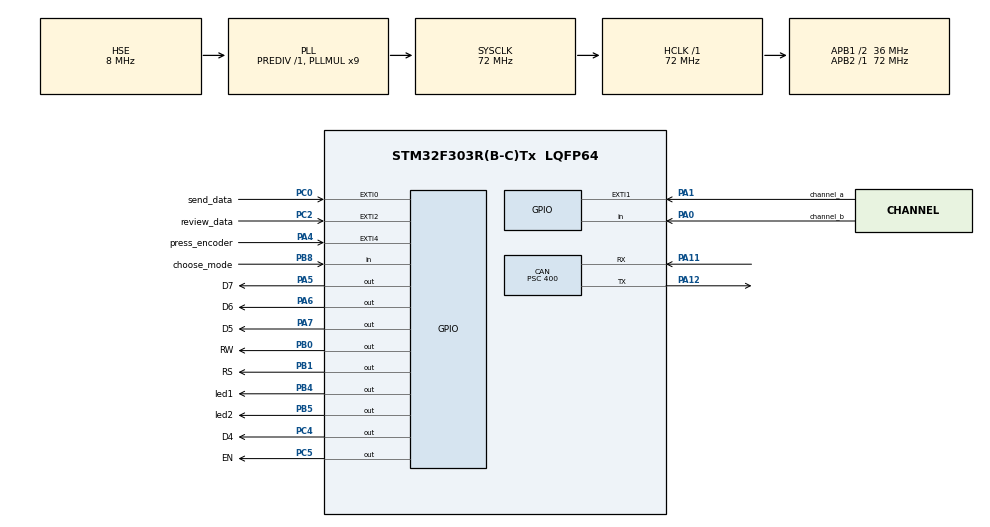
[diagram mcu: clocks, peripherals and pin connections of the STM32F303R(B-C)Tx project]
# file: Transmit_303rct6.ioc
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CAN.BS1=CAN_BS1_12TQ
CAN.BS2=CAN_BS2_5TQ
CAN.CalculateTimeQuantum=11111.111111111111
CAN.Prescaler=400
Mcu.Family=STM32F3
Mcu.Name=STM32F303R(B-C)Tx
Mcu.Package=LQFP64
NVIC.EXTI0_IRQn=true\:0\:0\:false\:false\:true\:true
NVIC.EXTI1_IRQn=true\:0\:0\:false\:false\:true\:true
NVIC.EXTI2_TSC_IRQn=true\:0\:0\:false\:false\:true\:true
NVIC.EXTI4_IRQn=true\:0\:0\:false\:false\:true\:true
NVIC.PriorityGroup=NVIC_PRIORITYGROUP_4
NVIC.TIM2_IRQn=true\:0\:0\:false\:false\:true\:true
PA0.GPIO_Label=channel_b
PA0.Signal=GPIO_Input
PA1.GPIO_Label=channel_a
PA1.GPIO_ModeDefaultEXTI=GPIO_MODE_IT_FALLING
PA1.Signal=GPXTI1
PA11.Mode=Master
PA11.Signal=CAN_RX
PA12.Mode=Master
PA12.Signal=CAN_TX
PA13.Mode=Serial_Wire
PA13.Signal=SYS_JTMS-SWDIO
PA14.Mode=Serial_Wire
PA14.Signal=SYS_JTCK-SWCLK
PA4.GPIO_Label=press_encoder
PA4.GPIO_PuPd=GPIO_PULLDOWN
PA4.Signal=GPXTI4
PA5.GPIO_Label=D7
PA5.Signal=GPIO_Output
PA6.GPIO_Label=D6
PA6.Signal=GPIO_Output
PA7.GPIO_Label=D5
PA7.Signal=GPIO_Output
PB0.GPIO_Label=RW
PB0.Signal=GPIO_Output
PB1.GPIO_Label=RS
PB1.Signal=GPIO_Output
PB4.GPIO_Label=led1
PB4.GPIO_ModeDefaultOutputPP=GPIO_MODE_OUTPUT_PP
PB4.GPIO_PuPd=GPIO_NOPULL
PB4.GPIO_Speed=GPIO_SPEED_FREQ_LOW
PB4.PinState=GPIO_PIN_SET
PB4.Signal=GPIO_Output
PB5.GPIO_Label=led2
PB5.GPIO_ModeDefaultOutputPP=GPIO_MODE_OUTPUT_PP
PB5.GPIO_PuPd=GPIO_NOPULL
PB5.GPIO_Speed=GPIO_SPEED_FREQ_LOW
PB5.PinState=GPIO_PIN_SET
PB5.Signal=GPIO_Output
PB8.GPIO_Label=choose_mode
PB8.Signal=GPIO_Input
PC0.GPIO_Label=send_data
PC0.GPIO_ModeDefaultEXTI=GPIO_MODE_IT_FALLING
PC0.GPIO_PuPd=GPIO_PULLUP
PC0.Signal=GPXTI0
PC2.GPIO_Label=review_data
PC2.GPIO_ModeDefaultEXTI=GPIO_MODE_IT_FALLING
PC2.Signal=GPXTI2
PC4.GPIO_Label=D4
PC4.Signal=GPIO_Output
PC5.GPIO_Label=EN
PC5.Signal=GPIO_Output
PF0-OSC_IN.Mode=HSE-External-Oscillator
PF0-OSC_IN.Signal=RCC_OSC_IN
PF1-OSC_OUT.Mode=HSE-External-Oscillator
PF1-OSC_OUT.Signal=RCC_OSC_OUT
ProjectManager.HeapSize=0x200
ProjectManager.StackSize=0x400
ProjectManager.TargetToolchain=MDK-ARM V5
RCC.AHBFreq_Value=72000000
RCC.APB1CLKDivider=RCC_HCLK_DIV2
RCC.APB1Freq_Value=36000000
RCC.APB1TimFreq_Value=72000000
RCC.APB2Freq_Value=72000000
RCC.APB2TimFreq_Value=72000000
RCC.CortexFreq_Value=72000000
RCC.HCLKFreq_Value=72000000
RCC.HSE_VALUE=8000000
RCC.HSI_VALUE=8000000
RCC.LSE_VALUE=32768
RCC.PLLMUL=RCC_PLL_MUL9
RCC.PLLSourceVirtual=RCC_PLLSOURCE_HSE
RCC.SYSCLKFreq_VALUE=72000000
RCC.SYSCLKSourceVirtual=RCC_SYSCLKSOURCE_PLLCLK
RCC.USBFreq_Value=72000000
TIM2.Period=9
TIM2.Prescaler=7199
VP_TIM2_VS_ClockSourceINT.Mode=Internal
board=Transmit_303rct6

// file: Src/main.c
/**
  ******************************************************************************
    @file           : main.c
    @brief          : Main program body
  ******************************************************************************
  ** This notice applies to any and all portions of this file
    that are not between comment pairs USER CODE BEGIN and
    USER CODE END. Other portions of this file, whether
    inserted by the user or by software development tools
    are owned by their respective copyright owners.

    COPYRIGHT(c) 2019 STMicroelectronics

    Redistribution and use in source and binary forms, with or without modification,
    are permitted provided that the following conditions are met:
      1. Redistributions of source code must retain the above copyright notice,
         this list of conditions and the following disclaimer.
      2. Redistributions in binary form must reproduce the above copyright notice,
         this list of conditions and the following disclaimer in the documentation
         and/or other materials provided with the distribution.
      3. Neither the name of STMicroelectronics nor the names of its contributors
         may be used to endorse or promote products derived from this software
         without specific prior written permission.

    THIS SOFTWARE IS PROVIDED BY THE COPYRIGHT HOLDERS AND CONTRIBUTORS "AS IS"
    AND ANY EXPRESS OR IMPLIED WARRANTIES, INCLUDING, BUT NOT LIMITED TO, THE
    IMPLIED WARRANTIES OF MERCHANTABILITY AND FITNESS FOR A PARTICULAR PURPOSE ARE
    DISCLAIMED. IN NO EVENT SHALL THE COPYRIGHT HOLDER OR CONTRIBUTORS BE LIABLE
    FOR ANY DIRECT, INDIRECT, INCIDENTAL, SPECIAL, EXEMPLARY, OR CONSEQUENTIAL
    DAMAGES (INCLUDING, BUT NOT LIMITED TO, PROCUREMENT OF SUBSTITUTE GOODS OR
    SERVICES; LOSS OF USE, DATA, OR PROFITS; OR BUSINESS INTERRUPTION) HOWEVER
    CAUSED AND ON ANY THEORY OF LIABILITY, WHETHER IN CONTRACT, STRICT LIABILITY,
    OR TORT (INCLUDING NEGLIGENCE OR OTHERWISE) ARISING IN ANY WAY OUT OF THE USE
    OF THIS SOFTWARE, EVEN IF ADVISED OF THE POSSIBILITY OF SUCH DAMAGE.

  ******************************************************************************
*/
#include "main.h"
#include "stm32f3xx_hal.h"

/* USER CODE BEGIN Includes */
#include "lcd.h"
#define pattern_a 1
#define pattern_b 0
/* USER CODE END Includes */

CAN_HandleTypeDef hcan;

TIM_HandleTypeDef htim2;

/* USER CODE BEGIN PV */
/* Private variables ---------------------------------------------------------*/
CanTxMsgTypeDef CanTx;
volatile uint8_t can_tx_int = 0;
volatile uint8_t rotary_value = 0;
volatile uint16_t timer_counter = 0;
volatile uint8_t timer_int = 0;
volatile uint8_t press_counter = 0;
volatile uint8_t review_data_int = 0;

volatile static uint8_t n1_chuc = 0, n1_donvi = 0;
volatile static uint8_t n2_chuc = 0, n2_donvi = 0;
volatile static uint8_t B_nghin = 0, B_tram = 0, B_chuc, B_donvi = 0;
volatile static uint8_t C_nghin = 0, C_tram = 0, C_chuc = 0, C_donvi = 0;
volatile static uint8_t D_nghin = 0, D_tram = 0, D_chuc = 0, D_donvi = 0;

volatile static uint8_t B1_nghin = 0, B1_tram = 0, B1_chuc = 0, B1_donvi = 0;
volatile static uint8_t C1_nghin = 0, C1_tram = 0, C1_chuc = 0, C1_donvi = 0;
volatile static uint8_t B2_nghin = 0, B2_tram = 0, B2_chuc = 0, B2_donvi = 0;

volatile static uint8_t D1_nghin = 0, D1_tram = 0, D1_chuc = 0, D1_donvi = 0;
volatile static uint8_t E_chucnghin = 0, E_nghin = 0, E_tram = 0, E_chuc = 0, E_donvi = 0;

volatile static uint8_t D2_nghin = 0, D2_tram = 0, D2_chuc = 0, D2_donvi = 0;
volatile static uint8_t C2_nghin = 0, C2_tram = 0, C2_chuc = 0, C2_donvi = 0;

uint8_t choose_mode;

uint8_t flag_choose_mode;
uint8_t flag_enable_send_data = 0;
//package 1
uint8_t n1 = 0, n2 = 0;
uint16_t B = 0, C = 0, D = 0;
uint8_t B_H = 0, B_L = 0, C_H = 0, C_L = 0, D_H = 0, D_L = 0;

//package 2
uint16_t B1 = 0, C1 = 0, B2 = 0;
uint8_t B1_H = 0, B1_L = 0, C1_H = 0, C1_L = 0, B2_H = 0, B2_L = 0;

//package 3
uint16_t D1 = 0;
uint32_t E = 0;
uint8_t D1_H = 0, D1_L = 0, E_HH = 0, E_H = 0, E_L = 0;

//package 4
uint16_t D2 = 0, C2 = 0;
uint8_t D2_H = 0, D2_L = 0, C2_H = 0, C2_L = 0;

Lcd_PortType ports[] = {D4_GPIO_Port, D5_GPIO_Port, D6_GPIO_Port, D7_GPIO_Port};
Lcd_PinType pins[] = {D4_Pin, D5_Pin, D6_Pin, D7_Pin};
Lcd_HandleTypeDef lcd;
/* USER CODE END PV */

void SystemClock_Config(void);
static void MX_GPIO_Init(void);
static void MX_CAN_Init(void);
static void MX_TIM2_Init(void);

/* USER CODE BEGIN PFP */
/* Private function prototypes -----------------------------------------------*/
void lcd_form_init(void);
void lcd_form1_pattern_a(void);
void lcd_form1_pattern_b(void);
void lcd_form2_pattern_b(void);
void lcd_form1_viewdata(void);
void lcd_form2_viewdata(void);
void lcd_form3_viewdata(void);
void lcd_form4_viewdata(void);
void lcd_form0_viewdata(void);
/* USER CODE END PFP */

int main(void)
{

  /* MCU Configuration----------------------------------------------------------*/

  /* Reset of all peripherals, Initializes the Flash interface and the Systick. */
  HAL_Init();

  /* Configure the system clock */
  SystemClock_Config();

  /* Initialize all configured peripherals */
  MX_GPIO_Init();
  MX_CAN_Init();
  MX_TIM2_Init();
  /* USER CODE BEGIN 2 */

  HAL_TIM_Base_Start_IT(&htim2);

  hcan.pTxMsg = &CanTx;
  CanTx.RTR = CAN_RTR_DATA;
  CanTx.IDE = CAN_ID_STD;

  lcd = Lcd_create(ports, pins, RS_GPIO_Port, RS_Pin, EN_GPIO_Port, EN_Pin, LCD_4_BIT_MODE);
  Lcd_clear(&lcd);
  lcd_form_init();

  HAL_NVIC_DisableIRQ(send_data_EXTI_IRQn);
  HAL_NVIC_DisableIRQ(review_data_EXTI_IRQn);
  /* USER CODE END 2 */

  /* Infinite loop */
  /* USER CODE BEGIN WHILE */
  while (1)
  {

    if (press_counter == 0)
    {
      if (HAL_GPIO_ReadPin(choose_mode_GPIO_Port, choose_mode_Pin))
      {
        lcd_form1_pattern_a();
        Lcd_cursor(&lcd, 2, 11);
        if (timer_int)
        {
          Lcd_string(&lcd, "a");
        }
        else
        {
          Lcd_string(&lcd, " ");
        }
      }
      else
      {
        lcd_form1_pattern_b();
        Lcd_cursor(&lcd, 2, 11);
        if (timer_int)
        {
          Lcd_string(&lcd, "b");
        }
        else
        {
          Lcd_string(&lcd, " ");
        }
      }
    }
    //----------------------------------------------------------------1 time----------------------------------------------------------------------------------
    if (press_counter == 1)
    {

      Lcd_cursor(&lcd, 2, 11);
      if (flag_choose_mode == 1)
      {
        Lcd_string(&lcd, "a");
      }
      else
      {
        Lcd_string(&lcd, "b");
      }

      Lcd_cursor(&lcd, 2, 16);
      if (timer_int)
      {
        Lcd_int(&lcd, rotary_value);
      }
      else
      {
        Lcd_string(&lcd, "_");
      }
    }
    //----------------------------------------------------------------2 times
    if (press_counter == 2)
    {
      Lcd_cursor(&lcd, 2, 16);
      Lcd_int(&lcd, n1_chuc);
      Lcd_cursor(&lcd, 2, 17);
      if (timer_int)
      {
        Lcd_int(&lcd, rotary_value);
      }
      else
      {
        Lcd_string(&lcd, "_");
      }
    }
    //----------------------------------------------------------------3 times
    if (press_counter == 3)
    {
      Lcd_cursor(&lcd, 2, 17);
      Lcd_int(&lcd, n1_donvi);
      Lcd_cursor(&lcd, 3, 5);
      if (timer_int)
      {
        Lcd_int(&lcd, rotary_value);
      }
      else
      {
        Lcd_string(&lcd, "_");
      }
    }
    //----------------------------------------------------------------4 times
    if (press_counter == 4)
    {
      Lcd_cursor(&lcd, 3, 5);
      Lcd_int(&lcd, n2_chuc);
      Lcd_cursor(&lcd, 3, 6);
      if (timer_int)
      {
        Lcd_int(&lcd, rotary_value);
      }
      else
      {
        Lcd_string(&lcd, "_");
      }
    }
    //----------------------------------------------------------------5 times
    if (press_counter == 5)
    {
      Lcd_cursor(&lcd, 3, 6);
      Lcd_int(&lcd, n2_donvi);
      Lcd_cursor(&lcd, 3, 16);
      if (timer_int)
      {
        Lcd_int(&lcd, rotary_value);
      }
      else
      {
        Lcd_string(&lcd, "_");
      }
    }
    //----------------------------------------------------------------------------------------------------------pattern a
    //----------------------------------------------------------------6 times
    if (flag_choose_mode == 1 && press_counter >= 6)
    {
      if (press_counter == 6)
      {
        Lcd_cursor(&lcd, 3, 16);
        Lcd_int(&lcd, B_nghin);
        Lcd_cursor(&lcd, 3, 17);
        if (timer_int)
        {
          Lcd_int(&lcd, rotary_value);
        }
        else
        {
          Lcd_string(&lcd, "_");
        }
      }
      //----------------------------------------------------------------7 times
      if (press_counter == 7)
      {
        Lcd_cursor(&lcd, 3, 17);
        Lcd_int(&lcd, B_tram);
        Lcd_cursor(&lcd, 3, 18);
        if (timer_int)
        {
          Lcd_int(&lcd, rotary_value);
        }
        else
        {
          Lcd_string(&lcd, "_");
        }
      }
      //----------------------------------------------------------------8 times
      if (press_counter == 8)
      {
        Lcd_cursor(&lcd, 3, 18);
        Lcd_int(&lcd, B_chuc);
        Lcd_cursor(&lcd, 3, 19);
        if (timer_int)
        {
          Lcd_int(&lcd, rotary_value);
        }
        else
        {
          Lcd_string(&lcd, "_");
        }
      }
      //----------------------------------------------------------------9 times
      if (press_counter == 9)
      {
        Lcd_cursor(&lcd, 3, 19);
        Lcd_int(&lcd, B_donvi);
        Lcd_cursor(&lcd, 4, 5);
        if (timer_int)
        {
          Lcd_int(&lcd, rotary_value);
        }
        else
        {
          Lcd_string(&lcd, "_");
        }
      }
      //----------------------------------------------------------------10 times
      if (press_counter == 10)
      {
        Lcd_cursor(&lcd, 4, 5);
        Lcd_int(&lcd, C_nghin);
        Lcd_cursor(&lcd, 4, 6);
        if (timer_int)
        {
          Lcd_int(&lcd, rotary_value);
        }
        else
        {
          Lcd_string(&lcd, "_");
        }
      }
      //----------------------------------------------------------------11 times
      if (press_counter == 11)
      {
        Lcd_cursor(&lcd, 4, 6);
        Lcd_int(&lcd, C_tram);
        Lcd_cursor(&lcd, 4, 7);
        if (timer_int)
        {
          Lcd_int(&lcd, rotary_value);
        }
        else
        {
          Lcd_string(&lcd, "_");
        }
      }
      //----------------------------------------------------------------12 times
      if (press_counter == 12)
      {
        Lcd_cursor(&lcd, 4, 7);
        Lcd_int(&lcd, C_chuc);
        Lcd_cursor(&lcd, 4, 8);
        if (timer_int)
        {
          Lcd_int(&lcd, rotary_value);
        }
        else
        {
          Lcd_string(&lcd, "_");
        }
      }
      //----------------------------------------------------------------13 times
      if (press_counter == 13)
      {
        Lcd_cursor(&lcd, 4, 8);
        Lcd_int(&lcd, C_donvi);
        Lcd_cursor(&lcd, 4, 16);
        if (timer_int)
        {
          Lcd_int(&lcd, rotary_value);
        }
        else
        {
          Lcd_string(&lcd, "_");
        }
      }
      //----------------------------------------------------------------14 times
      if (press_counter == 14)
      {
        Lcd_cursor(&lcd, 4, 16);
        Lcd_int(&lcd, D_nghin);
        Lcd_cursor(&lcd, 4, 17);
        if (timer_int)
        {
          Lcd_int(&lcd, rotary_value);
        }
        else
        {
          Lcd_string(&lcd, "_");
        }
      }
      //----------------------------------------------------------------15 times
      if (press_counter == 15)
      {
        Lcd_cursor(&lcd, 4, 17);
        Lcd_int(&lcd, D_tram);
        Lcd_cursor(&lcd, 4, 18);
        if (timer_int)
        {
          Lcd_int(&lcd, rotary_value);
        }
        else
        {
          Lcd_string(&lcd, "_");
        }
      }
      //----------------------------------------------------------------16 times
      if (press_counter == 16)
      {
        Lcd_cursor(&lcd, 4, 18);
        Lcd_int(&lcd, D_chuc);
        Lcd_cursor(&lcd, 4, 19);
        if (timer_int)
        {
          Lcd_int(&lcd, rotary_value);
        }
        else
        {
          Lcd_string(&lcd, "_");
        }
      }
      //----------------------------------------------------------------17 times
      if (press_counter == 17)
      {
        Lcd_cursor(&lcd, 4, 19);
        Lcd_int(&lcd, D_donvi);
				press_counter = 37;
      }
    }
    //----------------------------------------------------------------------------------------------------------pattern b
    //----------------------------------------------------------------6 times
    if (flag_choose_mode == 0 && press_counter >= 6)
    {
      if (press_counter == 6)
      {
        Lcd_cursor(&lcd, 3, 16);
        Lcd_int(&lcd, B1_nghin);
        Lcd_cursor(&lcd, 3, 17);
        if (timer_int)
        {
          Lcd_int(&lcd, rotary_value);
        }
        else
        {
          Lcd_string(&lcd, "_");
        }
      }
      //----------------------------------------------------------------7 times
      if (press_counter == 7)
      {
        Lcd_cursor(&lcd, 3, 17);
        Lcd_int(&lcd, B1_tram);
        Lcd_cursor(&lcd, 3, 18);
        if (timer_int)
        {
          Lcd_int(&lcd, rotary_value);
        }
        else
        {
          Lcd_string(&lcd, "_");
        }
      }
      //----------------------------------------------------------------8 times
      if (press_counter == 8)
      {
        Lcd_cursor(&lcd, 3, 18);
        Lcd_int(&lcd, B1_chuc);
        Lcd_cursor(&lcd, 3, 19);
        if (timer_int)
        {
          Lcd_int(&lcd, rotary_value);
        }
        else
        {
          Lcd_string(&lcd, "_");
        }
      }
      //----------------------------------------------------------------9 times
      if (press_counter == 9)
      {
        Lcd_cursor(&lcd, 3, 19);
        Lcd_int(&lcd, B1_donvi);
        Lcd_cursor(&lcd, 4, 5);
        if (timer_int)
        {
          Lcd_int(&lcd, rotary_value);
        }
        else
        {
          Lcd_string(&lcd, "_");
        }
      }
      //----------------------------------------------------------------10 times
      if (press_counter == 10)
      {
        Lcd_cursor(&lcd, 4, 5);
        Lcd_int(&lcd, C1_nghin);
        Lcd_cursor(&lcd, 4, 6);
        if (timer_int)
        {
          Lcd_int(&lcd, rotary_value);
        }
        else
        {
          Lcd_string(&lcd, "_");
        }
      }
      //----------------------------------------------------------------11 times
      if (press_counter == 11)
      {
        Lcd_cursor(&lcd, 4, 6);
        Lcd_int(&lcd, C1_tram);
        Lcd_cursor(&lcd, 4, 7);
        if (timer_int)
        {
          Lcd_int(&lcd, rotary_value);
        }
        else
        {
          Lcd_string(&lcd, "_");
        }
      }
      //----------------------------------------------------------------12 times
      if (press_counter == 12)
      {
        Lcd_cursor(&lcd, 4, 7);
        Lcd_int(&lcd, C1_chuc);
        Lcd_cursor(&lcd, 4, 8);
        if (timer_int)
        {
          Lcd_int(&lcd, rotary_value);
        }
        else
        {
          Lcd_string(&lcd, "_");
        }
      }
      //----------------------------------------------------------------13 times
      if (press_counter == 13)
      {
        Lcd_cursor(&lcd, 4, 8);
        Lcd_int(&lcd, C1_donvi);
        Lcd_cursor(&lcd, 4, 16);
        if (timer_int)
        {
          Lcd_int(&lcd, rotary_value);
        }
        else
        {
          Lcd_string(&lcd, "_");
        }
      }
      //----------------------------------------------------------------14 times
      if (press_counter == 14)
      {
        Lcd_cursor(&lcd, 4, 16);
        Lcd_int(&lcd, B2_nghin);
        Lcd_cursor(&lcd, 4, 17);
        if (timer_int)
        {
          Lcd_int(&lcd, rotary_value);
        }
        else
        {
          Lcd_string(&lcd, "_");
        }
      }
      //----------------------------------------------------------------15 times
      if (press_counter == 15)
      {
        Lcd_cursor(&lcd, 4, 17);
        Lcd_int(&lcd, B2_tram);
        Lcd_cursor(&lcd, 4, 18);
        if (timer_int)
        {
          Lcd_int(&lcd, rotary_value);
        }
        else
        {
          Lcd_string(&lcd, "_");
        }
      }
      //----------------------------------------------------------------16 times
      if (press_counter == 16)
      {
        Lcd_cursor(&lcd, 4, 18);
        Lcd_int(&lcd, B2_chuc);
        Lcd_cursor(&lcd, 4, 19);
        if (timer_int)
        {
          Lcd_int(&lcd, rotary_value);
        }
        else
        {
          Lcd_string(&lcd, "_");
        }
      }
      //----------------------------------------------------------------17 times
      if (press_counter == 17)
      {
        Lcd_cursor(&lcd, 4, 19);
        Lcd_int(&lcd, B2_donvi);
      }
      //----------------------------------------------------------------18 times
      if (press_counter == 18)
      {
        lcd_form2_pattern_b();
      }
      //----------------------------------------------------------------19 times
      if (press_counter == 19)
      {
        Lcd_cursor(&lcd, 3, 5);
        if (timer_int)
        {
          Lcd_int(&lcd, rotary_value);
        }
        else
        {
          Lcd_string(&lcd, "_");
        }
      }
      //----------------------------------------------------------------20 times
      if (press_counter == 20)
      {
        Lcd_cursor(&lcd, 3, 5);
        Lcd_int(&lcd, D1_nghin);
        Lcd_cursor(&lcd, 3, 6);
        if (timer_int)
        {
          Lcd_int(&lcd, rotary_value);
        }
        else
        {
          Lcd_string(&lcd, "_");
        }
      }
      //----------------------------------------------------------------21 times
      if (press_counter == 21)
      {
        Lcd_cursor(&lcd, 3, 6);
        Lcd_int(&lcd, D1_tram);
        Lcd_cursor(&lcd, 3, 7);
        if (timer_int)
        {
          Lcd_int(&lcd, rotary_value);
        }
        else
        {
          Lcd_string(&lcd, "_");
        }
      }
      //----------------------------------------------------------------22 times
      if (press_counter == 22)
      {
        Lcd_cursor(&lcd, 3, 7);
        Lcd_int(&lcd, D1_chuc);
        Lcd_cursor(&lcd, 3, 8);
        if (timer_int)
        {
          Lcd_int(&lcd, rotary_value);
        }
        else
        {
          Lcd_string(&lcd, "_");
        }
      }
      //----------------------------------------------------------------23 times
      if (press_counter == 23)
      {
        Lcd_cursor(&lcd, 3, 8);
        Lcd_int(&lcd, D1_donvi);
        Lcd_cursor(&lcd, 3, 16);
        if (timer_int)
        {
          Lcd_int(&lcd, rotary_value);
        }
        else
        {
          Lcd_string(&lcd, "_");
        }
      }
      //----------------------------------------------------------------24 times
      if (press_counter == 24)
      {
        Lcd_cursor(&lcd, 3, 16);
        Lcd_int(&lcd, E_chucnghin);
        Lcd_cursor(&lcd, 3, 17);
        if (timer_int)
        {
          Lcd_int(&lcd, rotary_value);
        }
        else
        {
          Lcd_string(&lcd, "_");
        }
      }
      //----------------------------------------------------------------25 times
      if (press_counter == 25)
      {
        Lcd_cursor(&lcd, 3, 17);
        Lcd_int(&lcd, E_nghin);
        Lcd_cursor(&lcd, 3, 18);
        if (timer_int)
        {
          Lcd_int(&lcd, rotary_value);
        }
        else
        {
          Lcd_string(&lcd, "_");
        }
      }
      //----------------------------------------------------------------26 times
      if (press_counter == 26)
      {
        Lcd_cursor(&lcd, 3, 18);
        Lcd_int(&lcd, E_tram);
        Lcd_cursor(&lcd, 3, 19);
        if (timer_int)
        {
          Lcd_int(&lcd, rotary_value);
        }
        else
        {
          Lcd_string(&lcd, "_");
        }
      }
      //----------------------------------------------------------------27 times
      if (press_counter == 27)
      {
        Lcd_cursor(&lcd, 3, 19);
        Lcd_int(&lcd, E_chuc);
        Lcd_cursor(&lcd, 3, 20);
        if (timer_int)
        {
          Lcd_int(&lcd, rotary_value);
        }
        else
        {
          Lcd_string(&lcd, "_");
        }
      }
      //----------------------------------------------------------------28 times
      if (press_counter == 28)
      {
        Lcd_cursor(&lcd, 3, 20);
        Lcd_int(&lcd, E_donvi);
        Lcd_cursor(&lcd, 4, 5);
        if (timer_int)
        {
          Lcd_int(&lcd, rotary_value);
        }
        else
        {
          Lcd_string(&lcd, "_");
        }
      }
      //----------------------------------------------------------------29 times
      if (press_counter == 29)
      {
        Lcd_cursor(&lcd, 4, 5);
        Lcd_int(&lcd, D2_nghin);
        Lcd_cursor(&lcd, 4, 6);
        if (timer_int)
        {
          Lcd_int(&lcd, rotary_value);
        }
        else
        {
          Lcd_string(&lcd, "_");
        }
      }
      //----------------------------------------------------------------30 times
      if (press_counter == 30)
      {
        Lcd_cursor(&lcd, 4, 6);
        Lcd_int(&lcd, D2_tram);
        Lcd_cursor(&lcd, 4, 7);
        if (timer_int)
        {
          Lcd_int(&lcd, rotary_value);
        }
        else
        {
          Lcd_string(&lcd, "_");
        }
      }
      //----------------------------------------------------------------31 times
      if (press_counter == 31)
      {
        Lcd_cursor(&lcd, 4, 7);
        Lcd_int(&lcd, D2_chuc);
        Lcd_cursor(&lcd, 4, 8);
        if (timer_int)
        {
          Lcd_int(&lcd, rotary_value);
        }
        else
        {
          Lcd_string(&lcd, "_");
        }
      }
      //----------------------------------------------------------------32 times
      if (press_counter == 32)
      {
        Lcd_cursor(&lcd, 4, 8);
        Lcd_int(&lcd, D2_donvi);
        Lcd_cursor(&lcd, 4, 16);
        if (timer_int)
        {
          Lcd_int(&lcd, rotary_value);
        }
        else
        {
          Lcd_string(&lcd, "_");
        }
      }
      //----------------------------------------------------------------33 times
      if (press_counter == 33)
      {
        Lcd_cursor(&lcd, 4, 16);
        Lcd_int(&lcd, C2_nghin);
        Lcd_cursor(&lcd, 4, 17);
        if (timer_int)
        {
          Lcd_int(&lcd, rotary_value);
        }
        else
        {
          Lcd_string(&lcd, "_");
        }
      }
      //----------------------------------------------------------------34 times
      if (press_counter == 34)
      {
        Lcd_cursor(&lcd, 4, 17);
        Lcd_int(&lcd, C2_tram);
        Lcd_cursor(&lcd, 4, 18);
        if (timer_int)
        {
          Lcd_int(&lcd, rotary_value);
        }
        else
        {
          Lcd_string(&lcd, "_");
        }
      }
      //----------------------------------------------------------------35 times
      if (press_counter == 35)
      {
        Lcd_cursor(&lcd, 4, 18);
        Lcd_int(&lcd, C2_chuc);
        Lcd_cursor(&lcd, 4, 19);
        if (timer_int)
        {
          Lcd_int(&lcd, rotary_value);
        }
        else
        {
          Lcd_string(&lcd, "_");
        }
      }
      //----------------------------------------------------------------36 times
      if (press_counter == 36)
      {
        Lcd_cursor(&lcd, 4, 19);
        Lcd_int(&lcd, C2_donvi);
				press_counter++;
      }
    }
    //----------------------------------------------------------------37 times
    if (press_counter == 37)
    {
      //package 1
      n1 = 10 * n1_chuc + n1_donvi;
      n2 = 10 * n2_chuc + n2_donvi;
      B  = 1000 * B_nghin + 100 * B_tram + 10 * B_chuc + B_donvi;
      C  = 1000 * C_nghin + 100 * C_tram + 10 * C_chuc + C_donvi;
      D  = 1000 * D_nghin + 100 * D_tram + 10 * D_chuc + D_donvi;

      B_H = B >> 8;
      B_L = B;

      C_H = C >> 8;
      C_L = C;

      D_H = D >> 8;
      D_L = D;

      //package 2

      B1 = 1000 * B1_nghin + 100 * B1_tram + 10 * B1_chuc + B1_donvi;
      C1 = 1000 * C1_nghin + 100 * C1_tram + 10 * C1_chuc + C1_donvi;
      B2 = 1000 * B2_nghin + 100 * B2_tram + 10 * B2_chuc + B2_donvi;

      B1_H = B1 >> 8;
      B1_L = B1;

      C1_H = C1 >> 8;
      C1_L = C1;

      B2_H = B2 >> 8;
      B2_L = B2;

      //package 3

      D1 = 1000 * D1_nghin + 100 * D1_tram + 10 * D1_chuc + D1_donvi;
      E  = 10000 * E_chucnghin + 1000 * E_nghin + 100 * E_tram + 10 * E_chuc + E_donvi;

      D1_H = D1 >> 8;
      D1_L = D1;

      E_HH = E >> 16;
      E_H = E >> 8;
      E_L = E;

      //package 4

      D2 = 1000 * D2_nghin + 100 * D2_tram + 10 * D2_chuc + D2_donvi;
      C2 = 1000 * C2_nghin + 100 * C2_tram + 10 * C2_chuc + C2_donvi;

      D2_H = D2 >> 8;
      D2_L = D2;

      C2_H = C2 >> 8;
      C2_L = C2;

			__HAL_GPIO_EXTI_CLEAR_IT(send_data_Pin);
      HAL_NVIC_EnableIRQ(send_data_EXTI_IRQn);
			flag_enable_send_data = 1;
    }
    //----------------------------------------------------------------38 times
    if (can_tx_int == 1 && flag_enable_send_data >= 1)
    {
      flag_enable_send_data = 2;

      choose_mode = flag_choose_mode;
      can_tx_int = 0;
      if (choose_mode == pattern_a || (choose_mode == pattern_b && D1 + E < B1 && D2 + C2 < B2))
      {
        //send package 1:8bytes
        CanTx.StdId = 0x101;
        CanTx.DLC = 8;

        CanTx.Data[0] = n1;
        CanTx.Data[1] = n2;
        CanTx.Data[2] = B_H;
        CanTx.Data[3] = B_L;
        CanTx.Data[4] = C_H;
        CanTx.Data[5] = C_L;
        CanTx.Data[6] = D_H;
        CanTx.Data[7] = D_L;
        HAL_CAN_Transmit(&hcan, 10);
        HAL_Delay(10);

        //send package 2:6bytes
        CanTx.StdId = 0x102;
        CanTx.DLC = 6;

        CanTx.Data[0] = B1_H;
        CanTx.Data[1] = B1_L;
        CanTx.Data[2] = C1_H;
        CanTx.Data[3] = C1_L;
        CanTx.Data[4] = B2_H;
        CanTx.Data[5] = B2_L;
        HAL_CAN_Transmit(&hcan, 10);
        HAL_Delay(10);

        //send package 3:5bytes
        CanTx.StdId = 0x103;
        CanTx.DLC = 5;

        CanTx.Data[0] = D1_H;
        CanTx.Data[1] = D1_L;
        CanTx.Data[2] = E_HH;
        CanTx.Data[3] = E_H;
        CanTx.Data[4] = E_L;
        HAL_CAN_Transmit(&hcan, 10);
        HAL_Delay(10);

        //send package 5:5bytes
        CanTx.StdId = 0x104;
        CanTx.DLC = 5;

        CanTx.Data[0] = D2_H;
        CanTx.Data[1] = D2_L;
        CanTx.Data[2] = C2_H;
        CanTx.Data[3] = C2_L;
        CanTx.Data[4] = choose_mode;
        HAL_CAN_Transmit(&hcan, 10);
      }
    }
    //if (flag_enable_send_data == 1)
		if(flag_enable_send_data == 2)
    {
			Lcd_clear(&lcd);
			Lcd_cursor(&lcd, 1, 1);
			Lcd_string(&lcd, "---CONTROLLER BOX---");
			Lcd_cursor(&lcd,2,2);
			if(choose_mode == 1)
			{
				Lcd_string(&lcd,"Pattern: a");
			}
			else
				Lcd_string(&lcd,"Pattern: b");

			flag_enable_send_data++;

		}
		if (flag_enable_send_data == 3)
		{
      __HAL_GPIO_EXTI_CLEAR_IT(review_data_Pin);
      HAL_NVIC_EnableIRQ(review_data_EXTI_IRQn);
      if (choose_mode == pattern_a || (choose_mode == pattern_b && D1 + E < B1 && D2 + C2 < B2))
      {
        Lcd_cursor(&lcd, 3, 7);
        if (timer_int)
        {
          Lcd_string(&lcd, "Sent Data");
        }
        else
        {
          Lcd_string(&lcd, "         ");
        }
      }
      else
      {
        Lcd_cursor(&lcd, 3, 1);
        if (timer_int)
        {
          Lcd_string(&lcd, "   Wrong Condition  ");
        }
        else
        {
          Lcd_string(&lcd, "                    ");
        }
      }
    }
    if (review_data_int == 1)
    {

      review_data_int = 0;
      switch (flag_enable_send_data % 2)
      {
				case 0: lcd_form1_viewdata(); break;
        case 1: lcd_form0_viewdata(); break;
      }

    }

    /* USER CODE END WHILE */

  }

}

void SystemClock_Config(void)
{

  RCC_OscInitTypeDef RCC_OscInitStruct;
  RCC_ClkInitTypeDef RCC_ClkInitStruct;

  /**Initializes the CPU, AHB and APB busses clocks
  */
  RCC_OscInitStruct.OscillatorType = RCC_OSCILLATORTYPE_HSE;
  RCC_OscInitStruct.HSEState = RCC_HSE_ON;
  RCC_OscInitStruct.HSEPredivValue = RCC_HSE_PREDIV_DIV1;
  RCC_OscInitStruct.HSIState = RCC_HSI_ON;
  RCC_OscInitStruct.PLL.PLLState = RCC_PLL_ON;
  RCC_OscInitStruct.PLL.PLLSource = RCC_PLLSOURCE_HSE;
  RCC_OscInitStruct.PLL.PLLMUL = RCC_PLL_MUL9;
  if (HAL_RCC_OscConfig(&RCC_OscInitStruct) != HAL_OK)
  {
    _Error_Handler(__FILE__, __LINE__);
  }

  /**Initializes the CPU, AHB and APB busses clocks
  */
  RCC_ClkInitStruct.ClockType = RCC_CLOCKTYPE_HCLK | RCC_CLOCKTYPE_SYSCLK
                                | RCC_CLOCKTYPE_PCLK1 | RCC_CLOCKTYPE_PCLK2;
  RCC_ClkInitStruct.SYSCLKSource = RCC_SYSCLKSOURCE_PLLCLK;
  RCC_ClkInitStruct.AHBCLKDivider = RCC_SYSCLK_DIV1;
  RCC_ClkInitStruct.APB1CLKDivider = RCC_HCLK_DIV2;
  RCC_ClkInitStruct.APB2CLKDivider = RCC_HCLK_DIV1;

  if (HAL_RCC_ClockConfig(&RCC_ClkInitStruct, FLASH_LATENCY_2) != HAL_OK)
  {
    _Error_Handler(__FILE__, __LINE__);
  }

  /**Configure the Systick interrupt time
  */
  HAL_SYSTICK_Config(HAL_RCC_GetHCLKFreq() / 1000);

  /**Configure the Systick
  */
  HAL_SYSTICK_CLKSourceConfig(SYSTICK_CLKSOURCE_HCLK);

  /* SysTick_IRQn interrupt configuration */
  HAL_NVIC_SetPriority(SysTick_IRQn, 0, 0);
}

/* CAN init function */
static void MX_CAN_Init(void)
{

  hcan.Instance = CAN;
  hcan.Init.Prescaler = 400;
  hcan.Init.Mode = CAN_MODE_NORMAL;
  hcan.Init.SJW = CAN_SJW_1TQ;
  hcan.Init.BS1 = CAN_BS1_12TQ;
  hcan.Init.BS2 = CAN_BS2_5TQ;
  hcan.Init.TTCM = DISABLE;
  hcan.Init.ABOM = DISABLE;
  hcan.Init.AWUM = DISABLE;
  hcan.Init.NART = DISABLE;
  hcan.Init.RFLM = DISABLE;
  hcan.Init.TXFP = DISABLE;
  if (HAL_CAN_Init(&hcan) != HAL_OK)
  {
    _Error_Handler(__FILE__, __LINE__);
  }

}

/* TIM2 init function */
static void MX_TIM2_Init(void)
{

  TIM_ClockConfigTypeDef sClockSourceConfig;
  TIM_MasterConfigTypeDef sMasterConfig;

  htim2.Instance = TIM2;
  htim2.Init.Prescaler = 7199;
  htim2.Init.CounterMode = TIM_COUNTERMODE_UP;
  htim2.Init.Period = 9;
  htim2.Init.ClockDivision = TIM_CLOCKDIVISION_DIV1;
  htim2.Init.AutoReloadPreload = TIM_AUTORELOAD_PRELOAD_DISABLE;
  if (HAL_TIM_Base_Init(&htim2) != HAL_OK)
  {
    _Error_Handler(__FILE__, __LINE__);
  }

  sClockSourceConfig.ClockSource = TIM_CLOCKSOURCE_INTERNAL;
  if (HAL_TIM_ConfigClockSource(&htim2, &sClockSourceConfig) != HAL_OK)
  {
    _Error_Handler(__FILE__, __LINE__);
  }

  sMasterConfig.MasterOutputTrigger = TIM_TRGO_RESET;
  sMasterConfig.MasterSlaveMode = TIM_MASTERSLAVEMODE_DISABLE;
  if (HAL_TIMEx_MasterConfigSynchronization(&htim2, &sMasterConfig) != HAL_OK)
  {
    _Error_Handler(__FILE__, __LINE__);
  }

}

/** Configure pins as
          Analog
          Input
          Output
          EVENT_OUT
          EXTI
*/
static void MX_GPIO_Init(void)
{

  GPIO_InitTypeDef GPIO_InitStruct;

  /* GPIO Ports Clock Enable */
  __HAL_RCC_GPIOF_CLK_ENABLE();
  __HAL_RCC_GPIOC_CLK_ENABLE();
  __HAL_RCC_GPIOA_CLK_ENABLE();
  __HAL_RCC_GPIOB_CLK_ENABLE();

  /*Configure GPIO pin Output Level */
  HAL_GPIO_WritePin(GPIOA, D7_Pin | D6_Pin | D5_Pin, GPIO_PIN_RESET);

  /*Configure GPIO pin Output Level */
  HAL_GPIO_WritePin(GPIOC, D4_Pin | EN_Pin, GPIO_PIN_RESET);

  /*Configure GPIO pin Output Level */
  HAL_GPIO_WritePin(GPIOB, RW_Pin | RS_Pin, GPIO_PIN_RESET);

  /*Configure GPIO pin Output Level */
  HAL_GPIO_WritePin(GPIOB, led1_Pin | led2_Pin, GPIO_PIN_SET);

  /*Configure GPIO pin : send_data_Pin */
  GPIO_InitStruct.Pin = send_data_Pin;
  GPIO_InitStruct.Mode = GPIO_MODE_IT_FALLING;
  GPIO_InitStruct.Pull = GPIO_PULLUP;
  HAL_GPIO_Init(send_data_GPIO_Port, &GPIO_InitStruct);

  /*Configure GPIO pin : review_data_Pin */
  GPIO_InitStruct.Pin = review_data_Pin;
  GPIO_InitStruct.Mode = GPIO_MODE_IT_FALLING;
  GPIO_InitStruct.Pull = GPIO_NOPULL;
  HAL_GPIO_Init(review_data_GPIO_Port, &GPIO_InitStruct);

  /*Configure GPIO pin : channel_b_Pin */
  GPIO_InitStruct.Pin = channel_b_Pin;
  GPIO_InitStruct.Mode = GPIO_MODE_INPUT;
  GPIO_InitStruct.Pull = GPIO_NOPULL;
  HAL_GPIO_Init(channel_b_GPIO_Port, &GPIO_InitStruct);

  /*Configure GPIO pin : channel_a_Pin */
  GPIO_InitStruct.Pin = channel_a_Pin;
  GPIO_InitStruct.Mode = GPIO_MODE_IT_FALLING;
  GPIO_InitStruct.Pull = GPIO_NOPULL;
  HAL_GPIO_Init(channel_a_GPIO_Port, &GPIO_InitStruct);

  /*Configure GPIO pin : press_encoder_Pin */
  GPIO_InitStruct.Pin = press_encoder_Pin;
  GPIO_InitStruct.Mode = GPIO_MODE_IT_RISING;
  GPIO_InitStruct.Pull = GPIO_PULLDOWN;
  HAL_GPIO_Init(press_encoder_GPIO_Port, &GPIO_InitStruct);

  /*Configure GPIO pins : D7_Pin D6_Pin D5_Pin */
  GPIO_InitStruct.Pin = D7_Pin | D6_Pin | D5_Pin;
  GPIO_InitStruct.Mode = GPIO_MODE_OUTPUT_PP;
  GPIO_InitStruct.Pull = GPIO_NOPULL;
  GPIO_InitStruct.Speed = GPIO_SPEED_FREQ_LOW;
  HAL_GPIO_Init(GPIOA, &GPIO_InitStruct);

  /*Configure GPIO pins : D4_Pin EN_Pin */
  GPIO_InitStruct.Pin = D4_Pin | EN_Pin;
  GPIO_InitStruct.Mode = GPIO_MODE_OUTPUT_PP;
  GPIO_InitStruct.Pull = GPIO_NOPULL;
  GPIO_InitStruct.Speed = GPIO_SPEED_FREQ_LOW;
  HAL_GPIO_Init(GPIOC, &GPIO_InitStruct);

  /*Configure GPIO pins : RW_Pin RS_Pin led1_Pin led2_Pin */
  GPIO_InitStruct.Pin = RW_Pin | RS_Pin | led1_Pin | led2_Pin;
  GPIO_InitStruct.Mode = GPIO_MODE_OUTPUT_PP;
  GPIO_InitStruct.Pull = GPIO_NOPULL;
  GPIO_InitStruct.Speed = GPIO_SPEED_FREQ_LOW;
  HAL_GPIO_Init(GPIOB, &GPIO_InitStruct);

  /*Configure GPIO pin : choose_mode_Pin */
  GPIO_InitStruct.Pin = choose_mode_Pin;
  GPIO_InitStruct.Mode = GPIO_MODE_INPUT;
  GPIO_InitStruct.Pull = GPIO_NOPULL;
  HAL_GPIO_Init(choose_mode_GPIO_Port, &GPIO_InitStruct);

  /* EXTI interrupt init*/
  HAL_NVIC_SetPriority(EXTI0_IRQn, 0, 0);
  HAL_NVIC_EnableIRQ(EXTI0_IRQn);

  HAL_NVIC_SetPriority(EXTI1_IRQn, 0, 0);
  HAL_NVIC_EnableIRQ(EXTI1_IRQn);

  HAL_NVIC_SetPriority(EXTI2_TSC_IRQn, 0, 0);
  HAL_NVIC_EnableIRQ(EXTI2_TSC_IRQn);

  HAL_NVIC_SetPriority(EXTI4_IRQn, 0, 0);
  HAL_NVIC_EnableIRQ(EXTI4_IRQn);

}

/* USER CODE BEGIN 4 */
//-----------------------------------------------------------------------------------------------External interrupt
void HAL_GPIO_EXTI_Callback(uint16_t GPIO_Pin)
{
  if (GPIO_Pin == send_data_Pin)
  {
    can_tx_int = 1;
  }
  if (GPIO_Pin == channel_a_Pin)
  {
    if (HAL_GPIO_ReadPin(channel_b_GPIO_Port, channel_b_Pin) == 1)
      rotary_value++;
    else
      rotary_value--;
    if (rotary_value == 255)
      rotary_value = 9;
    if (rotary_value == 10)
      rotary_value = 0;
  }
  if (GPIO_Pin == press_encoder_Pin)
  {
    press_counter++;
    switch (press_counter)
    {
      case 1:
        {
          if (HAL_GPIO_ReadPin(choose_mode_GPIO_Port, choose_mode_Pin) == GPIO_PIN_SET)
            flag_choose_mode = 1;
          else
            flag_choose_mode = 0;
          break;
        }
      case 2: n1_chuc = rotary_value; break;
      case 3: n1_donvi = rotary_value; break;
      case 4: n2_chuc = rotary_value; break;
      case 5: n2_donvi = rotary_value; break;
    }
    if (flag_choose_mode == 1)
    {
      switch (press_counter)
      {
        case 6: B_nghin = rotary_value; break;
        case 7: B_tram = rotary_value; break;
        case 8: B_chuc = rotary_value; break;
        case 9: B_donvi = rotary_value; break;
        case 10: C_nghin = rotary_value; break;
        case 11: C_tram = rotary_value; break;
        case 12: C_chuc = rotary_value; break;
        case 13: C_donvi = rotary_value; break;
        case 14: D_nghin = rotary_value; break;
        case 15: D_tram = rotary_value; break;
        case 16: D_chuc = rotary_value; break;
        case 17: D_donvi = rotary_value; break;
				case 37: HAL_NVIC_DisableIRQ(press_encoder_EXTI_IRQn); break;
      }
    }
    else
    {
      switch (press_counter)
      {
        case 6: B1_nghin = rotary_value; break;
        case 7: B1_tram = rotary_value; break;
        case 8: B1_chuc = rotary_value; break;
        case 9: B1_donvi = rotary_value; break;
        case 10: C1_nghin = rotary_value; break;
        case 11: C1_tram = rotary_value; break;
        case 12: C1_chuc = rotary_value; break;
        case 13: C1_donvi = rotary_value; break;
        case 14: B2_nghin = rotary_value; break;
        case 15: B2_tram = rotary_value; break;
        case 16: B2_chuc = rotary_value; break;
        case 17: B2_donvi = rotary_value; break;

        case 20: D1_nghin = rotary_value; break;
        case 21: D1_tram = rotary_value; break;
        case 22: D1_chuc = rotary_value; break;
        case 23: D1_donvi = rotary_value; break;
        case 24: E_chucnghin = rotary_value; break;
        case 25: E_nghin = rotary_value; break;
        case 26: E_tram = rotary_value; break;
        case 27: E_chuc = rotary_value; break;
        case 28: E_donvi = rotary_value; break;
        case 29: D2_nghin = rotary_value; break;
        case 30: D2_tram = rotary_value; break;
        case 31: D2_chuc = rotary_value; break;
        case 32: D2_donvi = rotary_value; break;
        case 33: C2_nghin = rotary_value; break;
        case 34: C2_tram = rotary_value; break;
        case 35: C2_chuc = rotary_value; break;
        case 36: C2_donvi = rotary_value; break;
        case 37: HAL_NVIC_DisableIRQ(press_encoder_EXTI_IRQn); break;
      }
    }
    rotary_value = 0;
  }
  if (GPIO_Pin == review_data_Pin)
  {
    flag_enable_send_data++;
    if (flag_enable_send_data == 254)
    {
      flag_enable_send_data = 4;
    }
    review_data_int = 1;
  }
}
//-----------------------------------------------------------------------------------------------Timer
void HAL_TIM_PeriodElapsedCallback(TIM_HandleTypeDef *htim)
{
  if (htim->Instance == htim2.Instance)
  {
    timer_counter++;
    if (timer_counter == 300)
    {
      timer_int = !timer_int;
      timer_counter = 0;
      HAL_GPIO_TogglePin(led2_GPIO_Port, led2_Pin);
    }
  }
}

//-----------------------------------------------------------------------------------------------Implement Function
void lcd_form_init(void)
{
  Lcd_cursor(&lcd, 1, 1);
  Lcd_string(&lcd, "---CONTROLLER BOX---");
  Lcd_cursor(&lcd, 2, 2);
  Lcd_string(&lcd, "Pattern:");
}
void lcd_form1_pattern_a(void)
{
  Lcd_cursor(&lcd, 2, 13);
  Lcd_string(&lcd, "n1=__   ");

  Lcd_cursor(&lcd, 3, 1);
  Lcd_string(&lcd, " n2=__      B =____ ");

  Lcd_cursor(&lcd, 4, 1);
  Lcd_string(&lcd, " C =____    D =____ ");
}
void lcd_form1_pattern_b(void)
{
  Lcd_cursor(&lcd, 2, 13);
  Lcd_string(&lcd, "n1=__   ");

  Lcd_cursor(&lcd, 3, 1);
  Lcd_string(&lcd, " n2=__      B1=____ ");

  Lcd_cursor(&lcd, 4, 1);
  Lcd_string(&lcd, " C1=____    B2=____ ");
}
void lcd_form2_pattern_b(void)
{
  Lcd_cursor(&lcd, 2, 13);
  Lcd_string(&lcd, "     ");

  Lcd_cursor(&lcd, 3, 1);
  Lcd_string(&lcd, " D1=____    E =_____");

  Lcd_cursor(&lcd, 4, 1);
  Lcd_string(&lcd, " D2=____    C2=____ ");
}

//----------------------------viewdata
void lcd_form0_viewdata(void)
{
	if(flag_choose_mode == pattern_a)
	{
		Lcd_cursor(&lcd, 1, 1);
		Lcd_string(&lcd, "---CONTROLLER BOX---");
		Lcd_cursor(&lcd, 2, 1);
		Lcd_string(&lcd, " Pattern: a n1=     ");
		Lcd_cursor(&lcd, 3, 1);
		Lcd_string(&lcd, " n2=        B =     ");
		Lcd_cursor(&lcd, 4, 1);
		Lcd_string(&lcd, " C =        D =     ");
		Lcd_cursor(&lcd, 2, 16);
		Lcd_int(&lcd, n1);
		Lcd_cursor(&lcd, 3, 5);
		Lcd_int(&lcd, n2);
		Lcd_cursor(&lcd, 3, 16);
		Lcd_int(&lcd, B);
		Lcd_cursor(&lcd, 4, 5);
		Lcd_int(&lcd, C);
		Lcd_cursor(&lcd, 4, 16);
		Lcd_int(&lcd, D);
	}
	else
	{
		Lcd_cursor(&lcd, 1, 1);
		Lcd_string(&lcd, "---CONTROLLER BOX---");
		Lcd_cursor(&lcd, 2, 1);
		Lcd_string(&lcd, " Pattern: b n1=     ");
		Lcd_cursor(&lcd, 3, 1);
		Lcd_string(&lcd, " n2=        B1=     ");
		Lcd_cursor(&lcd, 4, 1);
		Lcd_string(&lcd, " C1=        B2=     ");
		Lcd_cursor(&lcd, 2, 16);
		Lcd_int(&lcd, n1);
		Lcd_cursor(&lcd, 3, 5);
		Lcd_int(&lcd, n2);
		Lcd_cursor(&lcd, 3, 16);
		Lcd_int(&lcd, B1);
		Lcd_cursor(&lcd, 4, 5);
		Lcd_int(&lcd, C1);
		Lcd_cursor(&lcd, 4, 16);
		Lcd_int(&lcd, B2);
	}
}
void lcd_form1_viewdata(void)
{
	if(flag_choose_mode == pattern_a)
  {
		Lcd_cursor(&lcd, 1, 1);
		Lcd_string(&lcd, "---CONTROLLER BOX---");
		Lcd_cursor(&lcd, 2, 1);
		Lcd_string(&lcd, " Pattern: a n1=     ");
		Lcd_cursor(&lcd, 3, 1);
		Lcd_string(&lcd, " n2=        B =     ");
		Lcd_cursor(&lcd, 4, 1);
		Lcd_string(&lcd, " C =        D =     ");
		Lcd_cursor(&lcd, 2, 16);
		Lcd_int(&lcd, n1);
		Lcd_cursor(&lcd, 3, 5);
		Lcd_int(&lcd, n2);
		Lcd_cursor(&lcd, 3, 16);
		Lcd_int(&lcd, B);
		Lcd_cursor(&lcd, 4, 5);
		Lcd_int(&lcd, C);
		Lcd_cursor(&lcd, 4, 16);
		Lcd_int(&lcd, D);
	}
	else
	{
		Lcd_cursor(&lcd, 1, 1);
		Lcd_string(&lcd, "---CONTROLLER BOX---");
		Lcd_cursor(&lcd, 2, 1);
		Lcd_string(&lcd, " Pattern: b         ");
		Lcd_cursor(&lcd, 3, 1);
		Lcd_string(&lcd, " D1=        E =     ");
		Lcd_cursor(&lcd, 4, 1);
		Lcd_string(&lcd, " D2=        C2=     ");
		Lcd_cursor(&lcd, 3, 5);
		Lcd_int(&lcd, D1);
		Lcd_cursor(&lcd, 3, 16);
		Lcd_int(&lcd, E);
		Lcd_cursor(&lcd, 4, 5);
		Lcd_int(&lcd, D2);
		Lcd_cursor(&lcd, 4, 16);
		Lcd_int(&lcd, C2);
	}
}

/* USER CODE END 4 */

void _Error_Handler(char *file, int line)
{
  while (1)
  {
  }
}

/**
    @}
*/

/**
    @}
*/

/************************ (C) COPYRIGHT STMicroelectronics *****END OF FILE****/
